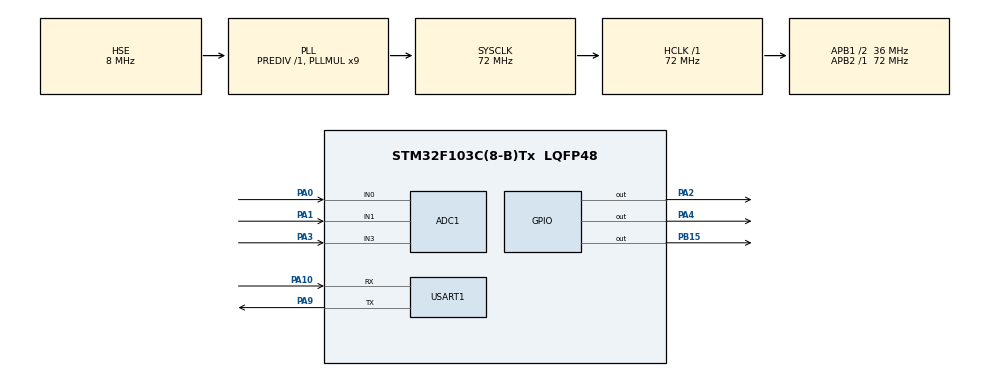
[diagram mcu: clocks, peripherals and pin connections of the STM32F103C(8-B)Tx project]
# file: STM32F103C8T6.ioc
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ADC1.Channel-0\#ChannelRegularConversion=ADC_CHANNEL_0
ADC1.NbrOfConversionFlag=1
ADC1.Rank-0\#ChannelRegularConversion=1
ADC1.SamplingTime-0\#ChannelRegularConversion=ADC_SAMPLETIME_1CYCLE_5
ADC1.master=1
Dma.Request0=USART1_RX
Dma.USART1_RX.0.Direction=DMA_PERIPH_TO_MEMORY
Dma.USART1_RX.0.Instance=DMA1_Channel5
Dma.USART1_RX.0.MemDataAlignment=DMA_MDATAALIGN_BYTE
Dma.USART1_RX.0.MemInc=DMA_MINC_ENABLE
Dma.USART1_RX.0.Mode=DMA_CIRCULAR
Dma.USART1_RX.0.PeriphDataAlignment=DMA_PDATAALIGN_BYTE
Dma.USART1_RX.0.PeriphInc=DMA_PINC_DISABLE
Dma.USART1_RX.0.Priority=DMA_PRIORITY_HIGH
Mcu.Family=STM32F1
Mcu.Name=STM32F103C(8-B)Tx
Mcu.Package=LQFP48
NVIC.DMA1_Channel5_IRQn=true\:0\:0\:false\:false\:true\:false\:true\:true
NVIC.PriorityGroup=NVIC_PRIORITYGROUP_4
NVIC.TIM4_IRQn=true\:15\:0\:false\:false\:true\:false\:true\:true
NVIC.TimeBase=TIM4_IRQn
NVIC.TimeBaseIP=TIM4
NVIC.USART1_IRQn=true\:12\:0\:true\:false\:true\:true\:true\:true
PA0-WKUP.Signal=ADCx_IN0
PA1.Signal=ADCx_IN1
PA10.Mode=Asynchronous
PA10.Signal=USART1_RX
PA13.Mode=Serial_Wire
PA13.Signal=SYS_JTMS-SWDIO
PA14.Mode=Serial_Wire
PA14.Signal=SYS_JTCK-SWCLK
PA2.Signal=GPIO_Output
PA3.Signal=ADCx_IN3
PA4.Signal=GPIO_Output
PA9.Mode=Asynchronous
PA9.Signal=USART1_TX
PB15.Signal=GPIO_Output
PB8.Signal=I2C1_SCL
PB9.Signal=I2C1_SDA
PD0-OSC_IN.Mode=HSE-External-Oscillator
PD0-OSC_IN.Signal=RCC_OSC_IN
PD1-OSC_OUT.Mode=HSE-External-Oscillator
PD1-OSC_OUT.Signal=RCC_OSC_OUT
ProjectManager.HeapSize=0x200
ProjectManager.StackSize=0x400
ProjectManager.TargetToolchain=MDK-ARM V5.32
RCC.ADCPresc=RCC_ADCPCLK2_DIV6
RCC.AHBFreq_Value=72000000
RCC.APB1CLKDivider=RCC_HCLK_DIV2
RCC.APB1Freq_Value=36000000
RCC.APB1TimFreq_Value=72000000
RCC.APB2Freq_Value=72000000
RCC.APB2TimFreq_Value=72000000
RCC.HCLKFreq_Value=72000000
RCC.PLLMUL=RCC_PLL_MUL9
RCC.PLLSourceVirtual=RCC_PLLSOURCE_HSE
RCC.SYSCLKFreq_VALUE=72000000
RCC.SYSCLKSource=RCC_SYSCLKSOURCE_PLLCLK
RCC.USBFreq_Value=72000000
SH.ADCx_IN0.0=ADC1_IN0,IN0
SH.ADCx_IN1.0=ADC1_IN1,IN1
SH.ADCx_IN3.0=ADC1_IN3,IN3
TIM2.Period=65535
TIM2.Prescaler=71
USART1.VirtualMode=VM_ASYNC
VP_SYS_VS_tim4.Mode=TIM4
VP_TIM2_VS_ClockSourceINT.Mode=Internal
board=custom

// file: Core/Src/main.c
/* USER CODE BEGIN Header */
/**
  ******************************************************************************
  * @file           : main.c
  * @brief          : Main program body
  ******************************************************************************
  * @attention
  *
  * Copyright (c) 2026 STMicroelectronics.
  * All rights reserved.
  *
  * This software is licensed under terms that can be found in the LICENSE file
  * in the root directory of this software component.
  * If no LICENSE file comes with this software, it is provided AS-IS.
  *
  ******************************************************************************
  */
/* USER CODE END Header */
#include "main.h"
#include "adc.h"
#include "dma.h"
#include "tim.h"
#include "usart.h"
#include "gpio.h"

/* USER CODE BEGIN Includes */
#include "bsp_delay.h"
#include "FreeRTOS.h"
#include "task.h"
#include "queue.h"
#include "dht11.h"
#include "iic.h"
#include "oled.h"
#include "stdio.h"
#include "bmp280.h"
#include "semphr.h"
#include "gp2y1010.h"
#include "air780e.h"
#include "onenet_upload.h"
#include "onenet_connect.h"
#include "bsp_buzzer.h"
#include "alarm.h"
#include "onenet_control.h"
#include "onenet_config.h"
#include <string.h>
#include "oled_pages.h"
/* USER CODE END Includes */

void SystemClock_Config(void);

/* USER CODE BEGIN 0 */
static void Sensor(void *argument);      // 采集任务
static void Display(void *argument);     // 显示任务
static void NetworkTask(void *argument); /* 网络业务：连接、接收、周期上传 */

/*
 * Keil Watch 观察各步骤的最近返回结果。初始 HAL_BUSY 表示尚未完成该步骤。
 */
volatile HAL_StatusTypeDef g_air_init_status = HAL_BUSY;  /* 启动 DMA 接收 */
volatile HAL_StatusTypeDef g_air_tx_status = HAL_BUSY;    /* MCONFIG 参数配置及应答 */
volatile HAL_StatusTypeDef g_air_tcp_status = HAL_BUSY;   /* TCP 连接 */
volatile HAL_StatusTypeDef g_air_close_status = HAL_BUSY; /* 关闭旧 TCP 连接 */
volatile HAL_StatusTypeDef g_air_mqtt_status = HAL_BUSY;  /* MQTT 登录 */
volatile HAL_StatusTypeDef g_air_pub_status = HAL_BUSY;   /* 最近一次发布命令 */
volatile HAL_StatusTypeDef g_air_sub_status = HAL_BUSY;   /* 消息输出模式设置或订阅 */
/* 关闭回显的结果；g_air_init_status 只记录 DMA 启动结果 */
volatile HAL_StatusTypeDef g_air_at_status = HAL_BUSY;
/* 已经尝试连接的次数，方便在 Keil Watch 观察 */
volatile uint32_t g_air_connect_attempts = 0U;
/* 最近一次 MQTT 状态查询的结果 */
volatile HAL_StatusTypeDef g_air_query_status = HAL_BUSY;
/* MQTT 状态：0 离线，1 已登录，2 未认证，255 未知 */
volatile uint8_t g_air_mqtt_state = ONENET_MQTT_UNKNOWN;
/* 运行过程中触发重连的次数 */
volatile uint32_t g_air_reconnect_count = 0U;
volatile uint32_t g_air_recovery_attempts = 0U;
volatile uint32_t g_air_at_failures = 0U;
volatile uint32_t g_air_upload_timeouts = 0U;
volatile uint8_t g_air_recovery_requested = 0U;
volatile uint32_t g_pm25_event_queued = 0U;
volatile uint32_t g_pm25_event_dropped = 0U;
volatile uint32_t g_pm25_event_success = 0U;
volatile uint32_t g_pm25_event_id = 0U;
volatile uint32_t g_pm25_event_code = 0U;
volatile uint8_t g_pm25_event_state = UPLOAD_IDLE;
volatile HAL_StatusTypeDef g_pm25_event_at_status = HAL_BUSY;
typedef struct // 采集数据结构体
{
    uint8_t temperture;  // 温度
    uint8_t humidity;    // 湿度
    uint8_t dht11_valid; // dht11是否成功读取

    double bmp_temperature; // bmp280
    double press;
    uint8_t bmp_valid;

    uint16_t light_raw; // 光照强度
    uint8_t light_percent;
    uint8_t light_valid;

    GP2Y1010_Data_t dust; /* 粉尘采集结果 */
    uint8_t dust_valid;   /* 本轮采集是否成功 */

    float pm25_limit;
    uint8_t buzzer_enable;
    AlarmStatus_t alarm;
} WeatherData_t;
typedef struct
{
    float pm25_value;
    float limit_value;
} Pm25Event_t;
/* 任务间通信对象：数据快照、事件队列和 I2C 互斥锁。 */
static QueueHandle_t weatherqueue;
static QueueHandle_t uploadqueue; /* 长度 1：传递给网络任务的最新采集快照 */
static QueueHandle_t upload_result_queue;
static QueueHandle_t alarm_config_queue;
static QueueHandle_t pm25_event_queue;
static TaskHandle_t network_task_handle;
static TaskHandle_t sensor_task_handle;
static TaskHandle_t display_task_handle;
static SemaphoreHandle_t i2cMutex;

/* Keil Watch：最小剩余任务栈，单位为 StackType_t（本工程每个 4 字节）。 */
volatile uint32_t g_stack_start_min_words = 0U;
volatile uint32_t g_stack_sensor_min_words = 0U;
volatile uint32_t g_stack_display_min_words = 0U;
volatile uint32_t g_stack_network_min_words = 0U;
volatile uint32_t g_stack_idle_min_words = 0U;
volatile uint32_t g_heap_free_bytes = 0U;
volatile uint32_t g_heap_min_free_bytes = 0U;

/* 不创建额外任务；由显示任务低频采样，历史最小值由 FreeRTOS 维护。 */
static void Diagnostics_Update(void)
{
    if (sensor_task_handle != NULL)
        g_stack_sensor_min_words = uxTaskGetStackHighWaterMark(sensor_task_handle);
    if (display_task_handle != NULL)
        g_stack_display_min_words = uxTaskGetStackHighWaterMark(display_task_handle);
    if (network_task_handle != NULL)
        g_stack_network_min_words = uxTaskGetStackHighWaterMark(network_task_handle);
    g_stack_idle_min_words = uxTaskGetStackHighWaterMark(xTaskGetIdleTaskHandle());
    g_heap_free_bytes = (uint32_t)xPortGetFreeHeapSize();
    g_heap_min_free_bytes = (uint32_t)xPortGetMinimumEverFreeHeapSize();
}

/* 暂存两条云端属性设置消息 */
static QueueHandle_t cloud_set_queue;
static OneNET_PendingUpload_t property_pending;
static OneNET_PendingUpload_t event_pending;

/* Keil Watch 观察量 */
volatile uint32_t g_cloud_set_received = 0U;
volatile uint32_t g_cloud_set_overflow = 0U;
volatile uint32_t g_cloud_set_applied = 0U;
volatile uint32_t g_cloud_set_invalid = 0U;
volatile uint32_t g_cloud_set_discarded = 0U;
volatile HAL_StatusTypeDef g_cloud_reply_status = HAL_BUSY;
/* 将本设备的属性设置消息转交网络任务处理。 */
static void Network_OnMqttLine(const char *line)
{
    static const char topic[] = "" ONENET_TOPIC_PREFIX "/thing/property/set";

    const char *p;
    uint8_t quoted = 0U;

    if (line == NULL || cloud_set_queue == NULL || strncmp(line, "+MSUB:", 6U) != 0)
    {
        return;
    }

    /* 不论当前在等哪条 AT 回复，都先记录两个异步上报的云端回执。 */
    OneNET_PendingOnLine(&property_pending, line);
    OneNET_PendingOnLine(&event_pending, line);

    /* 找到模块输出的 MQTT 主题 */
    p = line + 6U;
    p += strspn(p, " \t");

    if (*p == '"')
    {
        quoted = 1U;
        p++;
    }

    /* 只接收本设备的属性设置主题 */
    if (strncmp(p, topic, sizeof(topic) - 1U) != 0)
    {
        return;
    }

    p += sizeof(topic) - 1U;

    if (quoted)
    {
        if (*p != '"')
        {
            return;
        }
        p++;
    }

    p += strspn(p, " \t");

    if (*p != ',')
    {
        return;
    }

    if (g_air_mqtt_status != HAL_OK || g_air_sub_status != HAL_OK)
    {
        /* 正在重连时不延后执行已经无法及时确认的旧设置。 */
        g_cloud_set_discarded++;
        return;
    }

    /*
     * line 指向驱动里的 256 字节接收数组。
     * 队列会复制内容，而不是保存这个指针。
     */
    if (xQueueSend(cloud_set_queue, line, 0) == pdPASS)
    {
        g_cloud_set_received++;
    }
    else
    {
        g_cloud_set_overflow++;
    }
}

/* 创建任务和所需的队列、互斥锁。 */
static void StartTask(void *argument)
{
    UploadResult_t initial_result = {0, 0, UPLOAD_IDLE};
    /* 默认阈值 10.0，蜂鸣器静音 */
    AlarmConfig_t initial_alarm_config = {10.0f, 0U};
    (void)argument;
    i2cMutex = xSemaphoreCreateMutex();
    weatherqueue = xQueueCreate(1, sizeof(WeatherData_t));
    uploadqueue = xQueueCreate(1, sizeof(WeatherData_t));
    upload_result_queue = xQueueCreate(8, sizeof(UploadResult_t));
    alarm_config_queue = xQueueCreate(1, sizeof(AlarmConfig_t));
    cloud_set_queue = xQueueCreate(2, AIR780E_LINE_SIZE);
    pm25_event_queue = xQueueCreate(4, sizeof(Pm25Event_t));
    if (i2cMutex == NULL)
        Error_Handler();
    if (weatherqueue == NULL)
        Error_Handler();
    if (uploadqueue == NULL)
        Error_Handler();
    if (upload_result_queue == NULL)
        Error_Handler();
    if (alarm_config_queue == NULL)
        Error_Handler();
    if (cloud_set_queue == NULL)
        Error_Handler();
    if (pm25_event_queue == NULL)
        Error_Handler();
    if (xQueueOverwrite(alarm_config_queue, &initial_alarm_config) != pdPASS)
        Error_Handler();
    xQueueSend(upload_result_queue, &initial_result, 0);
    if (xTaskCreate(Sensor, "Sensor", 384, NULL, 2, &sensor_task_handle) != pdPASS)
        Error_Handler();
    if (xTaskCreate(Display, "Display", 512, NULL, 1, &display_task_handle) != pdPASS)
        Error_Handler();
    if (xTaskCreate(NetworkTask, "NetworkTask", 512, NULL, 1, &network_task_handle) != pdPASS)
        Error_Handler();
    /* 启动任务随后删除，提前保存它的历史最小剩余栈。 */
    g_stack_start_min_words = uxTaskGetStackHighWaterMark(NULL);
    vTaskDelete(NULL);
}

/* 采集传感器、执行本地报警并发布数据快照。 */
static void Sensor(void *argument)
{
    BMP_OVERSAMPLE_MODE BMP_OVERSAMPLE_MODEStructure;
    BMP_OVERSAMPLE_MODEStructure.P_Osample = BMP280_P_MODE_3;
    BMP_OVERSAMPLE_MODEStructure.T_Osample = BMP280_T_MODE_1;
    BMP_OVERSAMPLE_MODEStructure.WORKMODE = BMP280_FORCED_MODE;
    AlarmConfig_t alarm_config;
    AlarmStatus_t alarm_status = {0U, 0U, 0U};
    uint8_t previous_pm25_alarm = 0U;
    (void)argument;

    for (;;)
    {
        WeatherData_t data = {0};
        uint8_t triggered = 0;
        double temperature;
        double pressure_pa;
        data.dht11_valid = (DHT11_Read_Data(&data.temperture, &data.humidity) == 0);
        /* 触发 BMP280 本轮测量 */
        if (xSemaphoreTake(i2cMutex, portMAX_DELAY) == pdTRUE)
        {
            if (BMP280_ReadID() == 0x58)
            {
                BMP280_Set_TemOversamp(&BMP_OVERSAMPLE_MODEStructure);
                triggered = 1;
            }
            xSemaphoreGive(i2cMutex);
        }

        if (triggered)
        {
            /*
             * 当前温度×1、压力×4的最大测量时间约13.3ms。
             * 等待期间释放总线，允许显示任务运行。
             */
            vTaskDelay(pdMS_TO_TICKS(20));

            if (xSemaphoreTake(i2cMutex, portMAX_DELAY) == pdTRUE)
            {
                /* 必须先进行温度补偿，再计算压力 */
                temperature = BMP280_Get_Temperature();
                pressure_pa = BMP280_Get_Pressure();

                xSemaphoreGive(i2cMutex);

                /* 对结果做基本范围检查 */
                if (temperature >= -40.0 && temperature <= 85.0 && pressure_pa >= 30000.0 &&
                    pressure_pa <= 110000.0)
                {
                    data.bmp_temperature = temperature;
                    data.press = pressure_pa / 100.0;
                    data.bmp_valid = 1;
                }
            }
        }
        /* 光照：PA0，对应ADC1通道0，连续采样16次求平均 */
        if (ADC_ReadAverage(ADC_CHANNEL_0, 16, &data.light_raw) == HAL_OK)
        {
            /* ADC值越小，表示越亮。*/
            data.light_percent = (uint8_t)((4095UL - data.light_raw) * 100UL / 4095UL);
            data.light_valid = 1;
        }
        else
        {
            data.light_valid = 0;
        }
        /* 粉尘：模块内部完成脉冲采样、平均和换算 */
        data.dust_valid = (GP2Y1010_Read(&data.dust) == HAL_OK);
        /* 读取最新的报警配置，不移除队列中的配置 */
        if (xQueuePeek(alarm_config_queue, &alarm_config, 0) == pdPASS)
        {
            Alarm_UpdatePm25(&alarm_status, &alarm_config, data.dust.dust_ug, data.dust_valid);
            /* 本轮有效，且从正常变为超限时，生成一次事件 */
            if (data.dust_valid)
            {
                if (previous_pm25_alarm == 0U && alarm_status.pm25_alarm != 0U)
                {
                    Pm25Event_t event;

                    event.pm25_value = data.dust.dust_ug;
                    event.limit_value = alarm_config.pm25_limit;

                    if (xQueueSend(pm25_event_queue, &event, 0) == pdPASS)
                    {
                        g_pm25_event_queued++;

                        /* 告诉网络任务有新事件 */
                        if (network_task_handle != NULL)
                        {
                            xTaskNotifyGive(network_task_handle);
                        }
                    }
                    else
                    {
                        /* 队列已满 */
                        g_pm25_event_dropped++;
                    }
                }

                previous_pm25_alarm = alarm_status.pm25_alarm;
            }
            /* 根据判断结果控制蜂鸣器 */
            if (alarm_status.buzzer_output != 0U)
            {
                BSP_Buzzer_On();
            }
            else
            {
                BSP_Buzzer_Off();
            }

            /* 与本轮传感器数据一起发给显示任务 */
            data.pm25_limit = alarm_config.pm25_limit;
            data.buzzer_enable = alarm_config.buzzer_enable;
            data.alarm = alarm_status;
        }
        /* 所有传感器采集结束，发送本轮结果 */
        xQueueOverwrite(weatherqueue, &data);
        xQueueOverwrite(uploadqueue, &data);
        vTaskDelay(pdMS_TO_TICKS(2000));
    }
}
/* 渲染本地页面；OLED 和 BMP280 共用 I2C 互斥锁。 */
static void Display(void *argument)
{
    WeatherData_t data = {0};
    OLED_WeatherView_t weather = {0};
    OLED_NetworkView_t network = {0};
    UploadResult_t upload_result = {0, 0, UPLOAD_IDLE};

    uint8_t have_data = 0U;
    uint8_t page = 0U;
    uint8_t redraw = 1U;

    TickType_t now;
    TickType_t page_started = xTaskGetTickCount();
    TickType_t last_refresh = page_started;

    (void)argument;

    for (;;)
    {
        /* 取传感器快照；没有新数据最多等 100 ms。 */
        if (xQueueReceive(weatherqueue, &data, pdMS_TO_TICKS(100)) == pdPASS)
            have_data = 1U;

        /* 保留最后一条上传结果，供联网状态页使用。 */
        while (xQueueReceive(upload_result_queue, &upload_result, 0) == pdPASS)
        {
        }

        now = xTaskGetTickCount();

        /* 三个页面每 10 秒轮换一次。 */
        if ((TickType_t)(now - page_started) >= pdMS_TO_TICKS(10000U))
        {
            page = (uint8_t)((page + 1U) % 3U);
            page_started = now;
            redraw = 1U;
        }

        /* 每秒检查一次内容；页面模块只重写变化的行。 */
        if (redraw || (TickType_t)(now - last_refresh) >= pdMS_TO_TICKS(1000U))
        {
            weather.have_data = have_data;
            weather.temperature = data.temperture;
            weather.humidity = data.humidity;
            weather.dht_valid = data.dht11_valid;
            weather.bmp_valid = data.bmp_valid;
            weather.pressure_hpa = data.press;
            weather.light_percent = data.light_percent;
            weather.light_valid = data.light_valid;
            weather.dust_valid = data.dust_valid;
            weather.pm25 = data.dust.dust_ug;
            weather.pm25_limit = data.pm25_limit;
            weather.pm25_alarm = data.alarm.pm25_alarm;
            weather.buzzer_enable = data.buzzer_enable;
            weather.buzzer_output = data.alarm.buzzer_output;

            network.uart_status = (uint8_t)g_air_init_status;
            network.mqtt_status = (uint8_t)g_air_mqtt_status;
            network.mqtt_state = g_air_mqtt_state;
            network.upload_id = upload_result.id;
            network.upload_code = upload_result.code;
            network.upload_state = upload_result.state;
            network.set_received = g_cloud_set_received;
            network.set_applied = g_cloud_set_applied;
            network.set_reply_status = (uint8_t)g_cloud_reply_status;
            network.event_state = g_pm25_event_state;
            network.event_code = g_pm25_event_code;

            /* OLED 和 BMP280 共享 I2C。只在写屏时持锁。 */
            if (xSemaphoreTake(i2cMutex, portMAX_DELAY) == pdTRUE)
            {
                if (page == 0U)
                    OLEDPage_ShowData(&weather);
                else if (page == 1U)
                    OLEDPage_ShowNetwork(&network);
                else
                    OLEDPage_ShowAbout();

                xSemaphoreGive(i2cMutex);
            }

            last_refresh = xTaskGetTickCount();
            redraw = 0U;
            Diagnostics_Update();
        }
    }
}

static void UploadResultPost(const UploadResult_t *result)
{
    UploadResult_t discarded;

    /* 网络任务不阻塞等待显示；满了就丢掉最旧事件。 */
    if (xQueueSend(upload_result_queue, result, 0) != pdPASS)
    {
        xQueueReceive(upload_result_queue, &discarded, 0);
        xQueueSend(upload_result_queue, result, 0);
    }
}
/* 由网络任务调用，处理队列中的云端属性设置 */
static uint8_t s_at_consecutive_failures = 0U;

/* 超时后的命令状态不确定，先离开正常业务，再进行连接恢复。 */
static void Network_RecordAtResult(HAL_StatusTypeDef status)
{
    if (status == HAL_OK)
    {
        s_at_consecutive_failures = 0U;
        return;
    }
    g_air_at_failures++;
    if (s_at_consecutive_failures < 255U)
        s_at_consecutive_failures++;
    if (status == HAL_TIMEOUT || Air780E_HasRxError() ||
        s_at_consecutive_failures >= 3U)
        g_air_recovery_requested = 1U;
}

static void Network_ProcessSet(void)
{
    static char line[AIR780E_LINE_SIZE];
    static char reply_command[192];

    OneNET_SetCommand_t command;
    AlarmConfig_t config;
    int length;
    uint8_t processed = 0U;

    if (g_air_recovery_requested || Air780E_HasRxError())
        return;
    while (processed < 2U && xQueueReceive(cloud_set_queue, line, 0) == pdPASS)
    {
        processed++;
        /* 解析消息，并读取当前报警配置 */
        if (!OneNET_ParseSet(line, &command) ||
            xQueuePeek(alarm_config_queue, &config, 0) != pdPASS)
        {
            g_cloud_set_invalid++;
            continue;
        }

        /* 云端只设置了一项时，另一项保留原值 */
        if (command.has_pm25_limit)
        {
            config.pm25_limit = command.pm25_limit;
        }

        if (command.has_buzzer_enable)
        {
            config.buzzer_enable = command.buzzer_enable;
        }

        /* 更新后，采集任务会读取新配置 */
        if (xQueueOverwrite(alarm_config_queue, &config) != pdPASS)
        {
            g_cloud_set_invalid++;
            continue;
        }

        g_cloud_set_applied++;

        /* 使用下发消息的 ID 回复平台 */
        length = snprintf(reply_command, sizeof(reply_command),

                          "AT+MPUB=\"" ONENET_TOPIC_PREFIX "/thing/property/set_reply\",0,0,"
                          "\"{\\22id\\22:\\22%s\\22,\\22code\\22:200,"
                          "\\22msg\\22:\\22success\\22}\"\r\n",

                          command.id);

        if (length <= 0 || length >= (int)sizeof(reply_command))
        {
            g_cloud_reply_status = HAL_ERROR;
            continue;
        }

        g_cloud_reply_status = Air780E_SendAndWait(reply_command, "OK", 1000U);
        Network_RecordAtResult(g_cloud_reply_status);
        if (g_air_recovery_requested)
            break;
    }
}
/*
 * 发生超时后先接收迟到数据，空闲 250 ms 再查询带状态行的 MQTT 状态。
 * 这能减少旧 OK 被误用；无模块复位线时无法证明任意迟到回复都被排除。
 */
static HAL_StatusTypeDef Network_WaitRxQuiet(void)
{
    uint32_t started = HAL_GetTick();
    uint32_t last_data = started;
    uint32_t events = g_air_rx_events;
    while ((uint32_t)(HAL_GetTick() - started) < 2000U)
    {
        if (Air780E_HasRxError())
            return HAL_ERROR;
        while (Air780E_ReadLine())
        {
            if ((uint32_t)(HAL_GetTick() - started) >= 2000U)
                return HAL_TIMEOUT;
        }
        if (g_air_rx_events != events)
        {
            events = g_air_rx_events;
            last_data = HAL_GetTick();
        }
        if ((uint32_t)(HAL_GetTick() - last_data) >= 250U)
            return HAL_OK;
        (void)ulTaskNotifyTake(pdTRUE, pdMS_TO_TICKS(50U));
    }
    return HAL_TIMEOUT;
}

/* 只尝试一次；失败后的等待和再次尝试由 NetworkTask 的主循环管理。 */
static HAL_StatusTypeDef Network_ConnectOnce(const char *config_command, uint8_t resync)
{
    HAL_StatusTypeDef status;
    OneNET_ConnectInfo_t info;
    uint8_t state;

    if (g_air_init_status != HAL_OK || Air780E_HasRxError())
    {
        g_air_init_status = Air780E_RestartRx();
        if (g_air_init_status != HAL_OK)
            return g_air_init_status;
        resync = 1U;
    }
    if (resync)
    {
        status = Network_WaitRxQuiet();
        if (status != HAL_OK)
            return status;
        /* 不能只用一行通用 OK，必须先收到明确的状态行。 */
        status = OneNET_QueryMqttState(&state, 3000U);
        if (status != HAL_OK)
            return status;
        if (state == 1U)
        {
            status = OneNET_Disconnect();
            if (status != HAL_OK)
                return status;
        }
    }
    g_air_connect_attempts++;
    status = OneNET_Connect(config_command, &info);
    g_air_at_status = info.at_status;
    g_air_tx_status = info.config_status;
    g_air_tcp_status = info.tcp_status;
    g_air_close_status = info.close_status;
    g_air_mqtt_status = (status == HAL_OK) ? info.mqtt_status : HAL_BUSY;
    g_air_sub_status = info.sub_status;
    return status;
}
/* 只由网络任务调用；失败后保留事件并等待重试 */
static void Network_ProcessPm25Event(void)
{
    static uint32_t next_id = 1U;
    static uint8_t retry_waiting = 0U;
    static TickType_t last_attempt_finished = 0;
    static char command[256];

    Pm25Event_t event;
    UploadResult_t result;
    int length;

    if (OneNET_PendingTake(&event_pending, HAL_GetTick(), &result))
    {
        g_pm25_event_state = result.state;
        g_pm25_event_code = result.code;
        if (result.state == UPLOAD_SUCCESS)
        {
            (void)xQueueReceive(pm25_event_queue, &event, 0);
            g_pm25_event_success++;
            next_id++;
            retry_waiting = 0U;
        }
        else
        {
            last_attempt_finished = xTaskGetTickCount();
            retry_waiting = 1U;
        }
    }

    if (event_pending.active || g_air_recovery_requested ||
        g_air_mqtt_status != HAL_OK || xQueuePeek(pm25_event_queue, &event, 0) != pdPASS)
    {
        return;
    }

    /* 上次失败后，至少等待 10 秒再重试 */
    if (retry_waiting &&
        (TickType_t)(xTaskGetTickCount() - last_attempt_finished) < pdMS_TO_TICKS(10000U))
    {
        return;
    }

    g_pm25_event_id = next_id;
    g_pm25_event_code = 0U;
    g_pm25_event_state = UPLOAD_WAITING;

    length = OneNET_FormatPm25Event(command, sizeof(command), next_id,
                                     event.pm25_value, event.limit_value);
    if (length <= 0 ||
        !OneNET_PendingStart(&event_pending, ONENET_UPLOAD_EVENT,
                             next_id, HAL_GetTick(), 3000U))
    {
        g_pm25_event_at_status = HAL_ERROR;
        g_pm25_event_state = UPLOAD_FAILED;
        last_attempt_finished = xTaskGetTickCount();
        retry_waiting = 1U;
        return;
    }
    /* 只等待模块的 OK；云端回执由 Network_OnMqttLine 异步记录。 */
    g_pm25_event_at_status = Air780E_SendAndWait(command, "OK", 2000U);
    Network_RecordAtResult(g_pm25_event_at_status);
    if (g_pm25_event_at_status != HAL_OK)
        OneNET_PendingFail(&event_pending,
                           g_pm25_event_at_status == HAL_TIMEOUT ? UPLOAD_TIMEOUT : UPLOAD_FAILED);
}
/*
 * 网络业务放在本任务中：连接准备 -> 订阅结果 -> 周期上传和持续接收。
 * 串口收发与取行交给 air780e.c；传感器数值从 uploadqueue 复制。
 */
/* 属性回执由串口回调记录，这里只取最终结果，不等待平台。 */
static void Network_PollProperty(void)
{
    static uint8_t consecutive_timeouts = 0U;
    UploadResult_t result;
    if (!OneNET_PendingTake(&property_pending, HAL_GetTick(), &result))
        return;
    UploadResultPost(&result);
    if (result.state == UPLOAD_TIMEOUT)
    {
        g_air_upload_timeouts++;
        if (consecutive_timeouts < 255U)
            consecutive_timeouts++;
        if (consecutive_timeouts >= 3U)
        {
            g_air_recovery_requested = 1U;
            consecutive_timeouts = 0U;
        }
    }
    else
    {
        consecutive_timeouts = 0U;
    }
}

/*
 * 唯一 AT 使用者：命令逐条发送；平台回复和下发通过同一个接收回调分流。
 * 每次连接和命令都有时限；失败后让任务休眠再重试。
 */
static void NetworkTask(void *argument)
{
    static char pub_command[512];
    static const char mqtt_config_command[] = ONENET_MQTT_CONFIG_COMMAND;
    WeatherData_t upload_data;
    OneNET_WeatherReport_t report;
    UploadResult_t upload_result;
    uint32_t message_id = 1U;
    TickType_t last_upload, last_mqtt_check, last_attempt;
    TickType_t now, remaining;
    uint8_t mqtt_state, connected = 0U, resync = 0U, retry_waiting = 0U;
    int command_length;
    HAL_StatusTypeDef status;
    (void)argument;

    Air780E_SetMqttHandler(Network_OnMqttLine);
    g_air_init_status = Air780E_Init();
    if (g_air_init_status != HAL_OK)
        resync = 1U;
    last_upload = xTaskGetTickCount();
    last_mqtt_check = last_upload;
    last_attempt = last_upload;

    for (;;)
    {
        uint8_t received_lines = 0U;
        while (received_lines < 32U && Air780E_ReadLine())
        {
            received_lines++;
        }

        if (connected && (g_air_recovery_requested || Air780E_HasRxError()))
        {
            if (Air780E_HasRxError())
                g_air_init_status = HAL_ERROR;
            connected = 0U;
            resync = 1U;
            retry_waiting = 1U;
            last_attempt = xTaskGetTickCount();
            g_air_reconnect_count++;
            g_air_mqtt_status = HAL_BUSY;
            g_air_sub_status = HAL_BUSY;
            g_air_mqtt_state = ONENET_MQTT_UNKNOWN;
            OneNET_PendingFail(&property_pending, UPLOAD_FAILED);
            OneNET_PendingFail(&event_pending, UPLOAD_FAILED);
            Network_PollProperty();
            Network_ProcessPm25Event(); /* 失败事件留在队列，重连后再试。 */
            /* 连接中断时无法及时确认的旧下发不能在重连后悄悄执行。 */
            g_cloud_set_discarded += (uint32_t)uxQueueMessagesWaiting(cloud_set_queue);
            (void)xQueueReset(cloud_set_queue);
            g_air_recovery_requested = 0U;
            continue;
        }

        if (!connected)
        {
            now = xTaskGetTickCount();
            if (retry_waiting &&
                (TickType_t)(now - last_attempt) < pdMS_TO_TICKS(5000U))
            {
                (void)ulTaskNotifyTake(pdTRUE, pdMS_TO_TICKS(200U));
                continue;
            }
            g_air_recovery_attempts++;
            status = Network_ConnectOnce(mqtt_config_command, resync);
            if (status == HAL_OK)
            {
                connected = 1U;
                resync = 0U;
                retry_waiting = 0U;
                s_at_consecutive_failures = 0U;
                g_air_recovery_requested = 0U;
                g_air_mqtt_state = ONENET_MQTT_UNKNOWN;
                last_upload = xTaskGetTickCount();
                last_mqtt_check = last_upload;
            }
            else
            {
                /* 不把未知状态当作已连接；下次先检查串口并同步状态。 */
                resync = 1U;
                retry_waiting = 1U;
                last_attempt = xTaskGetTickCount();
                g_air_mqtt_status = HAL_BUSY;
                g_air_mqtt_state = ONENET_MQTT_UNKNOWN;
            }
            continue;
        }

        Network_ProcessSet();        /* 云端下发优先于发起新的上报。 */
        Network_PollProperty();
        if (g_air_recovery_requested)
            continue;
        Network_ProcessPm25Event();
        Network_ProcessSet();
        if (g_air_recovery_requested)
            continue;

        now = xTaskGetTickCount();
        if ((TickType_t)(now - last_mqtt_check) >= pdMS_TO_TICKS(30000U))
        {
            last_mqtt_check = now;
            g_air_query_status = OneNET_QueryMqttState(&mqtt_state, 3000U);
            Network_RecordAtResult(g_air_query_status);
            if (g_air_query_status == HAL_OK)
            {
                g_air_mqtt_state = mqtt_state;
                if (mqtt_state != 1U)
                    g_air_recovery_requested = 1U;
            }
            else
                g_air_mqtt_state = ONENET_MQTT_UNKNOWN;
            Network_ProcessSet();
            if (g_air_recovery_requested)
                continue;
        }

        now = xTaskGetTickCount();
        if ((TickType_t)(now - last_upload) >= pdMS_TO_TICKS(10000U))
        {
            last_upload = now;
            if (!property_pending.active &&
                xQueuePeek(uploadqueue, &upload_data, 0) == pdPASS)
            {
                memset(&report, 0, sizeof(report));
                report.dht_valid = upload_data.dht11_valid;
                report.temperature = upload_data.temperture;
                report.humidity = upload_data.humidity;
                report.bmp_valid = upload_data.bmp_valid;
                report.pressure = upload_data.press;
                report.light_valid = upload_data.light_valid;
                report.light_percent = upload_data.light_percent;
                report.dust_valid = upload_data.dust_valid;
                report.pm25 = (double)upload_data.dust.dust_ug;
                report.pm25_limit = (double)upload_data.pm25_limit;
                report.buzzer_enable = upload_data.buzzer_enable;
                report.pm25_alarm = upload_data.alarm.pm25_alarm;
                report.buzzer_output = upload_data.alarm.buzzer_output;
                command_length = OneNET_FormatWeather(pub_command, sizeof(pub_command),
                                                       message_id, &report);
                if (command_length > 0 &&
                    OneNET_PendingStart(&property_pending, ONENET_UPLOAD_PROPERTY,
                                        message_id, HAL_GetTick(), 5000U))
                {
                    upload_result.id = message_id;
                    upload_result.code = 0U;
                    upload_result.state = UPLOAD_WAITING;
                    UploadResultPost(&upload_result);
                    g_air_pub_status = Air780E_SendAndWait(pub_command, "OK", 2000U);
                    Network_RecordAtResult(g_air_pub_status);
                    if (g_air_pub_status != HAL_OK)
                        OneNET_PendingFail(&property_pending,
                            g_air_pub_status == HAL_TIMEOUT ? UPLOAD_TIMEOUT : UPLOAD_FAILED);
                    message_id++;
                }
                else
                {
                    g_air_pub_status = HAL_ERROR;
                    upload_result.id = message_id++;
                    upload_result.code = 0U;
                    upload_result.state = UPLOAD_FAILED;
                    UploadResultPost(&upload_result);
                }
                if (!g_air_recovery_requested)
                    Network_ProcessSet();
            }
        }

        /* 最多 200 ms 检查一次异步结果和到期时间，不忙等。 */
        now = xTaskGetTickCount();
        remaining = pdMS_TO_TICKS(10000U) - (TickType_t)(now - last_upload);
        if ((TickType_t)(now - last_upload) >= pdMS_TO_TICKS(10000U) ||
            remaining > pdMS_TO_TICKS(200U))
            remaining = pdMS_TO_TICKS(200U);
        (void)ulTaskNotifyTake(pdTRUE, remaining);
    }
}

/* USER CODE END 0 */

int main(void)
{

  /* MCU Configuration--------------------------------------------------------*/

  /* Reset of all peripherals, Initializes the Flash interface and the Systick. */
  HAL_Init();

  /* Configure the system clock */
  SystemClock_Config();

  /* Initialize all configured peripherals */
  MX_GPIO_Init();
  MX_DMA_Init();
  MX_ADC1_Init();
  MX_TIM2_Init();
  MX_USART1_UART_Init();
  /* USER CODE BEGIN 2 */
  if (BSP_Delay_Init() != HAL_OK) Error_Handler();
  GP2Y1010_Init();
  DHT11_Init();

  /* OLED初始化同时准备共用的软件I2C，再访问BMP280。 */
  OLED_Init();
  OLED_CLS();
  OLEDPage_ShowBoot();

  /* 保留上电稳定等待，移除原来的测试页面和ID显示。 */
  HAL_Delay(5000);
  if (BMP280_ReadID() == 0x58)
  {
    Bmp_Init();
  }

  if (HAL_ADCEx_Calibration_Start(&hadc1) != HAL_OK) Error_Handler();
  if (xTaskCreate(StartTask, "StartTask", 128, NULL, 3, NULL) != pdPASS)
    Error_Handler();
  vTaskStartScheduler();
  Error_Handler();
  /* USER CODE END 2 */

  /* Infinite loop */
  while (1)
  {

  }
}

void SystemClock_Config(void)
{
  RCC_OscInitTypeDef RCC_OscInitStruct = {0};
  RCC_ClkInitTypeDef RCC_ClkInitStruct = {0};
  RCC_PeriphCLKInitTypeDef PeriphClkInit = {0};

  /** Initializes the RCC Oscillators according to the specified parameters
  * in the RCC_OscInitTypeDef structure.
  */
  RCC_OscInitStruct.OscillatorType = RCC_OSCILLATORTYPE_HSE;
  RCC_OscInitStruct.HSEState = RCC_HSE_ON;
  RCC_OscInitStruct.HSEPredivValue = RCC_HSE_PREDIV_DIV1;
  RCC_OscInitStruct.HSIState = RCC_HSI_ON;
  RCC_OscInitStruct.PLL.PLLState = RCC_PLL_ON;
  RCC_OscInitStruct.PLL.PLLSource = RCC_PLLSOURCE_HSE;
  RCC_OscInitStruct.PLL.PLLMUL = RCC_PLL_MUL9;
  if (HAL_RCC_OscConfig(&RCC_OscInitStruct) != HAL_OK)
  {
    Error_Handler();
  }

  /** Initializes the CPU, AHB and APB buses clocks
  */
  RCC_ClkInitStruct.ClockType = RCC_CLOCKTYPE_HCLK|RCC_CLOCKTYPE_SYSCLK
                              |RCC_CLOCKTYPE_PCLK1|RCC_CLOCKTYPE_PCLK2;
  RCC_ClkInitStruct.SYSCLKSource = RCC_SYSCLKSOURCE_PLLCLK;
  RCC_ClkInitStruct.AHBCLKDivider = RCC_SYSCLK_DIV1;
  RCC_ClkInitStruct.APB1CLKDivider = RCC_HCLK_DIV2;
  RCC_ClkInitStruct.APB2CLKDivider = RCC_HCLK_DIV1;

  if (HAL_RCC_ClockConfig(&RCC_ClkInitStruct, FLASH_LATENCY_2) != HAL_OK)
  {
    Error_Handler();
  }
  PeriphClkInit.PeriphClockSelection = RCC_PERIPHCLK_ADC;
  PeriphClkInit.AdcClockSelection = RCC_ADCPCLK2_DIV6;
  if (HAL_RCCEx_PeriphCLKConfig(&PeriphClkInit) != HAL_OK)
  {
    Error_Handler();
  }
}

void HAL_TIM_PeriodElapsedCallback(TIM_HandleTypeDef *htim)
{
  if (htim->Instance == TIM4)
  {
    HAL_IncTick();
  }
}

void Error_Handler(void)
{
  __disable_irq();
  while (1)
  {
  }
}
